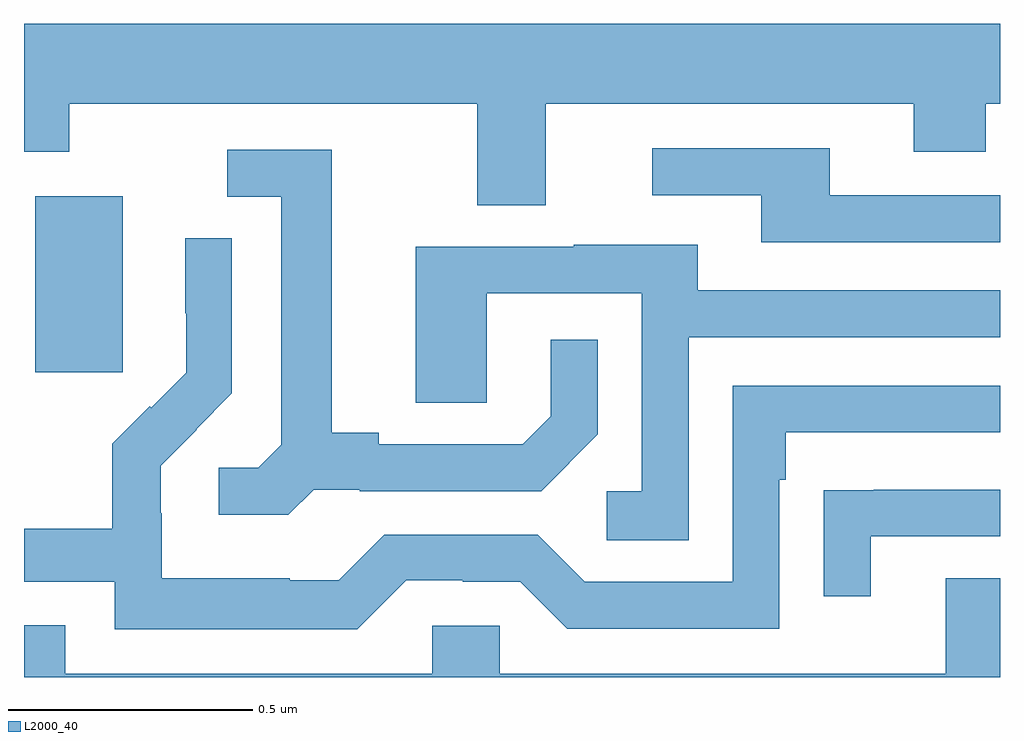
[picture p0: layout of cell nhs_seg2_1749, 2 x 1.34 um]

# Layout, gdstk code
import gdstk
lib = gdstk.Library(unit=1e-6, precision=1e-09)
def R(c, l, rs):  # rectangles x0, y0, x1, y1
    for r in rs: c.add(gdstk.rectangle(r[:2], r[2:], *l))
def P(c, l, *ps):  # polygons
    for p in ps: c.add(gdstk.Polygon(p, *l))
L2000_40 = (2000, 40)

nhs_seg2_1749 = lib.new_cell('nhs_seg2_1749')
R(nhs_seg2_1749, L2000_40, [(132.023,640.425,132.202,640.786)])
P(nhs_seg2_1749, L2000_40, [(133.069,640.976),(133.823,640.976),(133.823,640.877),(133.971,640.877),(133.971,640.976),(134,640.976),(134,641.14),(132,641.14),(132,640.877),(132.093,640.877),(132.093,640.976),(132.929,640.976),(132.929,640.768),(133.069,640.768)],
  [(134,640.788),(133.651,640.788),(133.651,640.884),(133.287,640.884),(133.287,640.788),(133.511,640.788),(133.511,640.692),(134,640.692)],
  [(132.594,640.185),(132.688,640.185),(132.688,640.182),(133.06,640.182),(133.176,640.298),(133.176,640.492),(133.079,640.492),(133.079,640.335),(133.022,640.278),(132.727,640.278),(132.727,640.301),(132.631,640.301),(132.631,640.881),(132.417,640.881),(132.417,640.785),(132.527,640.785),(132.527,640.277),(132.48,640.23),(132.399,640.23),(132.399,640.133),(132.542,640.133)],
  [(132.783,639.999),(132.899,639.999),(132.899,639.996),(133.017,639.996),(133.113,639.9),(133.548,639.9),(133.548,640.205),(133.561,640.205),(133.561,640.302),(134,640.302),(134,640.398),(133.452,640.398),(133.452,639.996),(133.149,639.996),(133.053,640.092),(132.738,640.092),(132.645,639.999),(132.545,639.999),(132.545,640.003),(132.282,640.003),(132.282,640.137),(132.28,640.137),(132.28,640.234),(132.354,640.308),(132.353,640.309),(132.426,640.382),(132.426,640.7),(132.33,640.7),(132.33,640.546),(132.332,640.546),(132.332,640.424),(132.261,640.353),(132.258,640.356),(132.181,640.279),(132.181,640.105),(132,640.105),(132,639.996),(132.186,639.996),(132.186,639.899),(132.683,639.899)],
  [(133.362,640.497),(134,640.497),(134,640.593),(133.381,640.593),(133.381,640.687),(133.127,640.687),(133.127,640.683),(132.803,640.683),(132.803,640.363),(132.948,640.363),(132.948,640.587),(133.266,640.587),(133.266,640.182),(133.194,640.182),(133.194,640.081),(133.362,640.081)],
  [(133.735,640.089),(134,640.089),(134,640.185),(133.741,640.185),(133.741,640.184),(133.639,640.184),(133.639,639.966),(133.735,639.966)],
  [(134,640.003),(133.889,640.003),(133.889,639.808),(132.975,639.808),(132.975,639.906),(132.837,639.906),(132.837,639.808),(132.085,639.808),(132.085,639.907),(132,639.907),(132,639.8),(134,639.8)])

lib.write_gds('nhs_seg2_1749.gds')
